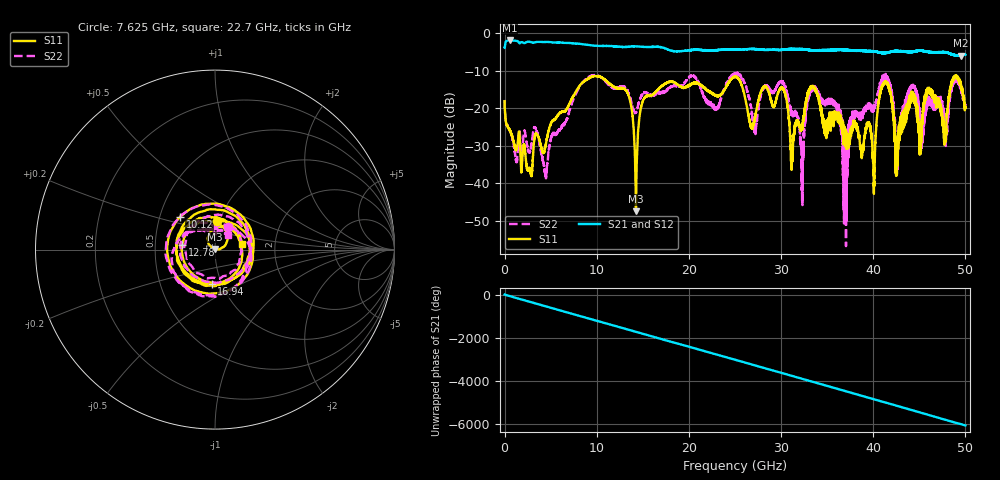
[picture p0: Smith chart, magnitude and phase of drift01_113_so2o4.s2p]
!Created with skrf (http://scikit-rf.org).
# Hz S RI R 50.0
!freq ReS11 ImS11 ReS21 ImS21 ReS12 ImS12 ReS22 ImS22
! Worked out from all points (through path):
!   10001 points, 300 kHz to 50 GHz, reference 50 ohm
!   highest |S21| = -2.00 dB at 570.3 MHz (marker M1); lowest = -6.0 dB at 49.52 GHz (marker M2)
!   group delay of S21, straight-line fit = 336 ps
!   lowest |S11| = -47.4 dB at 14.25 GHz (marker M3), VSWR 1.01, Z = 50.1 + j0.419 ohm
!   |S11| at or under -10 dB: start of sweep to end of sweep
!   |S22| runs from -56.7 to -10.5 dB; largest |S21 - S12| = 0.022
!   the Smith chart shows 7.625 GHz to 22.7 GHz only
!   S11 on the Smith chart (normalised r, x): 7.625 GHz: 0.97, +0.31; 10.12 GHz: 0.64, +0.25; 12.78 GHz: 0.69, +0.04; 16.94 GHz: 0.90, -0.35; 22.7 GHz: 1.36, +0.09
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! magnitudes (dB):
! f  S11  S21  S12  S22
! 300 kHz  -18.2  -3.9  -4.0  -17.8
! 570.3 MHz  -26.0  -2.0  -2.0  -26.1
! 4.44 GHz  -29.9  -2.4  -2.4  -37.8
! 7.625 GHz  -16.1  -2.8  -2.8  -16.8
! 8.335 GHz  -13.5  -3.0  -3.0  -13.5
! 10.12 GHz  -11.5  -3.4  -3.4  -11.4
! 12.78 GHz  -14.7  -3.7  -3.7  -14.3
! 14.25 GHz  -47.4  -3.6  -3.6  -21.1
! 16.67 GHz  -14.9  -3.7  -3.7  -15.8
! 16.94 GHz  -14.4  -3.8  -3.8  -15.7
! 22.7 GHz  -16.2  -4.6  -4.6  -19.4
! 25 GHz  -11.6  -4.5  -4.5  -10.9
! 27.15 GHz  -22.6  -4.3  -4.3  -26.1
! 30.2 GHz  -14.9  -4.5  -4.5  -13.3
! 32.27 GHz  -25.3  -4.3  -4.3  -42.9
! 33.34 GHz  -14.2  -4.6  -4.6  -14.6
! 36.99 GHz  -27.6  -4.5  -4.5  -47.4
! 40.06 GHz  -40.9  -4.9  -4.9  -20.0
! 41.67 GHz  -14.0  -5.1  -5.1  -12.9
! 42.56 GHz  -34.5  -4.8  -4.8  -29.8
! 49.52 GHz  -14.0  -6.0  -6.0  -14.7
! 50 GHz  -20.0  -5.8  -5.7  -19.4
